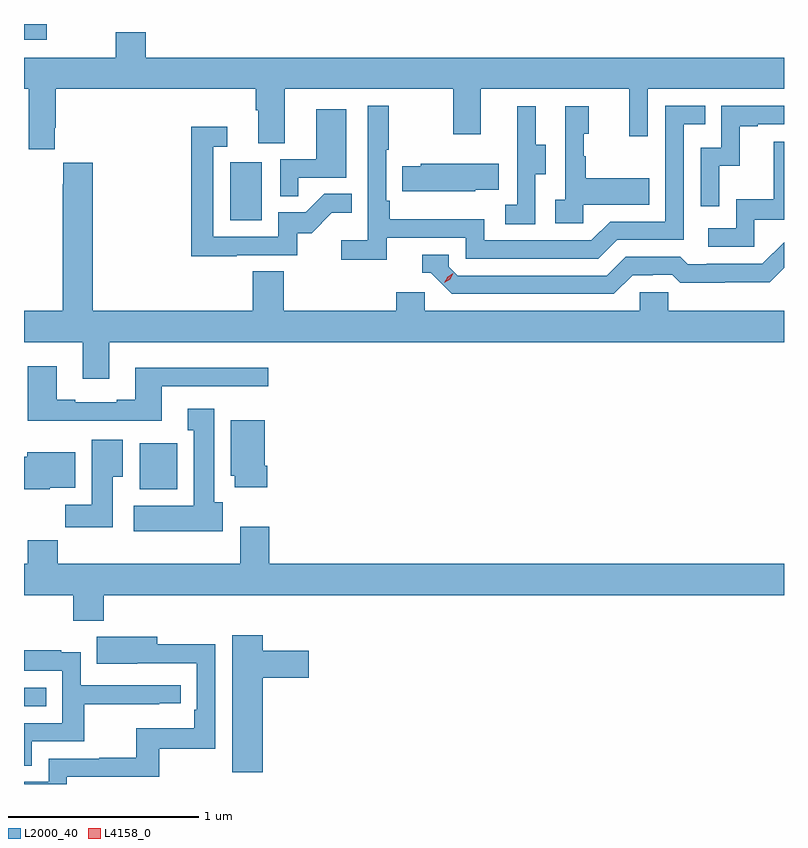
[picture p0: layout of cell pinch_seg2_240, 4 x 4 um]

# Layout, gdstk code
import gdstk
lib = gdstk.Library(unit=1e-6, precision=1e-09)
def R(c, l, rs):  # rectangles x0, y0, x1, y1
    for r in rs: c.add(gdstk.rectangle(r[:2], r[2:], *l))
def P(c, l, *ps):  # polygons
    for p in ps: c.add(gdstk.Polygon(p, *l))
L2000_40 = (2000, 40)
L4158_0 = (4158, 0)

pinch_seg2_240 = lib.new_cell('pinch_seg2_240')
R(pinch_seg2_240, L2000_40, [(925.25,651.048,925.367,651.144), (925.859,652.19,926.056,652.432), (926.336,653.604,926.5,653.911), (925.25,654.555,925.369,654.638)])
P(pinch_seg2_240, L2000_40, [(925.411,654.091),(925.418,654.091),(925.418,654.296),(926.471,654.296),(926.471,654.184),(926.483,654.184),(926.483,654.01),(926.623,654.01),(926.623,654.296),(927.508,654.296),(927.508,654.057),(927.655,654.057),(927.655,654.296),(928.436,654.296),(928.436,654.048),(928.533,654.048),(928.533,654.296),(929.25,654.296),(929.25,654.46),(925.892,654.46),(925.892,654.595),(925.732,654.595),(925.732,654.46),(925.25,654.46),(925.25,654.296),(925.274,654.296),(925.274,653.979),(925.411,653.979)],
  [(927.158,653.514),(927.576,653.514),(927.576,653.403),(928.273,653.403),(928.372,653.502),(928.722,653.502),(928.722,654.111),(928.835,654.111),(928.835,654.207),(928.626,654.207),(928.626,653.598),(928.335,653.598),(928.236,653.499),(927.672,653.499),(927.672,653.611),(927.176,653.611),(927.176,653.707),(927.156,653.707),(927.156,653.977),(927.169,653.977),(927.169,654.208),(927.06,654.208),(927.06,653.5),(926.919,653.5),(926.919,653.398),(927.158,653.398)],
  [(928.908,653.891),(929.018,653.891),(929.018,654.099),(929.113,654.099),(929.113,654.111),(929.25,654.111),(929.25,654.207),(928.92,654.207),(928.92,653.988),(928.812,653.988),(928.812,653.679),(928.908,653.679)],
  [(928.194,653.687),(928.541,653.687),(928.541,653.827),(928.207,653.827),(928.207,653.942),(928.197,653.942),(928.197,654.06),(928.222,654.06),(928.222,654.205),(928.098,654.205),(928.098,653.714),(928.047,653.714),(928.047,653.589),(928.194,653.589)],
  [(927.942,653.848),(927.997,653.848),(927.997,654.003),(927.943,654.003),(927.943,654.205),(927.845,654.205),(927.845,653.991),(927.846,653.991),(927.846,653.687),(927.783,653.687),(927.783,653.584),(927.942,653.584)],
  [(926.693,653.829),(926.947,653.829),(926.947,654.19),(926.789,654.19),(926.789,653.925),(926.598,653.925),(926.598,653.731),(926.693,653.731)],
  [(926.369,653.421),(926.688,653.421),(926.688,653.538),(926.764,653.538),(926.871,653.645),(926.975,653.645),(926.975,653.744),(926.831,653.744),(926.733,653.646),(926.589,653.646),(926.589,653.517),(926.247,653.517),(926.247,653.991),(926.32,653.991),(926.32,654.097),(926.131,654.097),(926.131,653.416),(926.369,653.416)],
  [(929.094,653.607),(929.25,653.607),(929.25,654.019),(929.197,654.019),(929.197,653.716),(928.998,653.716),(928.998,653.562),(928.851,653.562),(928.851,653.466),(929.094,653.466)],
  [(925.699,652.964),(929.25,652.964),(929.25,653.128),(928.641,653.128),(928.641,653.226),(928.491,653.226),(928.491,653.128),(927.36,653.128),(927.36,653.226),(927.209,653.226),(927.209,653.128),(926.618,653.128),(926.618,653.336),(926.453,653.336),(926.453,653.128),(925.613,653.128),(925.613,653.908),(925.457,653.908),(925.457,653.795),(925.453,653.795),(925.453,653.128),(925.25,653.128),(925.25,652.964),(925.559,652.964),(925.559,652.77),(925.699,652.77)],
  [(927.624,653.765),(927.749,653.765),(927.749,653.902),(927.339,653.902),(927.339,653.889),(927.241,653.889),(927.241,653.759),(927.624,653.759)],
  [(928.453,653.316),(928.56,653.316),(928.56,653.319),(928.663,653.319),(928.705,653.277),(928.938,653.277),(928.938,653.279),(929.174,653.279),(929.25,653.355),(929.25,653.49),(929.136,653.376),(928.843,653.376),(928.843,653.373),(928.744,653.373),(928.705,653.412),(928.416,653.412),(928.317,653.313),(927.534,653.313),(927.486,653.361),(927.486,653.424),(927.347,653.424),(927.347,653.328),(927.39,653.328),(927.501,653.217),(928.354,653.217)],
  [(925.515,652.551),(925.975,652.551),(925.975,652.731),(926.536,652.731),(926.536,652.828),(925.835,652.828),(925.835,652.66),(925.739,652.66),(925.739,652.647),(925.519,652.647),(925.519,652.66),(925.423,652.66),(925.423,652.837),(925.271,652.837),(925.271,652.55),(925.515,652.55)],
  [(926.296,652.122),(926.251,652.122),(926.251,652.612),(926.111,652.612),(926.111,652.499),(926.144,652.499),(926.144,652.102),(925.827,652.102),(925.827,651.968),(926.296,651.968)],
  [(926.531,652.312),(926.518,652.312),(926.518,652.552),(926.339,652.552),(926.339,652.26),(926.36,652.26),(926.36,652.2),(926.531,652.2)],
  [(925.717,652.256),(925.771,652.256),(925.771,652.45),(925.607,652.45),(925.607,652.108),(925.468,652.108),(925.468,651.99),(925.717,651.99)],
  [(925.386,652.196),(925.519,652.196),(925.519,652.384),(925.268,652.384),(925.268,652.361),(925.25,652.361),(925.25,652.19),(925.386,652.19)],
  [(925.67,651.632),(929.25,651.632),(929.25,651.796),(926.54,651.796),(926.54,651.991),(926.387,651.991),(926.387,651.796),(925.427,651.796),(925.427,651.92),(925.271,651.92),(925.271,651.796),(925.25,651.796),(925.25,651.632),(925.51,651.632),(925.51,651.497),(925.67,651.497)],
  [(926.506,651.197),(926.749,651.197),(926.749,651.339),(926.506,651.339),(926.506,651.421),(926.345,651.421),(926.345,650.7),(926.506,650.7)],
  [(925.476,650.676),(925.963,650.676),(925.963,650.823),(926.256,650.823),(926.256,651.374),(925.951,651.374),(925.951,651.412),(925.633,651.412),(925.633,651.272),(925.847,651.272),(925.847,651.273),(926.16,651.273),(926.16,651.028),(926.147,651.028),(926.147,650.932),(925.842,650.932),(925.842,650.777),(925.645,650.777),(925.645,650.772),(925.38,650.772),(925.38,650.649),(925.25,650.649),(925.25,650.638),(925.476,650.638)],
  [(925.291,650.862),(925.568,650.862),(925.568,651.058),(925.961,651.058),(925.961,651.063),(926.074,651.063),(926.074,651.159),(925.548,651.159),(925.548,651.331),(925.445,651.331),(925.445,651.343),(925.25,651.343),(925.25,651.234),(925.452,651.234),(925.452,650.958),(925.25,650.958),(925.25,650.734),(925.291,650.734)])
P(pinch_seg2_240, L4158_0, [(927.463,653.275),(927.463,653.275),(927.479,653.308),(927.509,653.327),(927.509,653.327),(927.509,653.327),(927.494,653.294),(927.463,653.275)])

lib.write_gds('pinch_seg2_240.gds')
